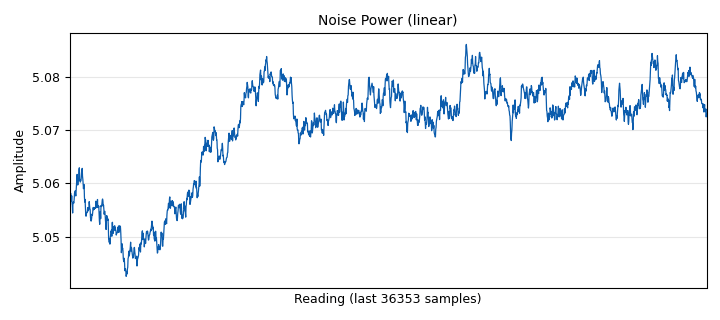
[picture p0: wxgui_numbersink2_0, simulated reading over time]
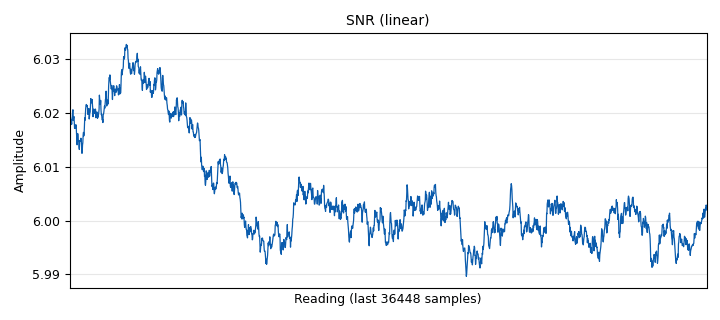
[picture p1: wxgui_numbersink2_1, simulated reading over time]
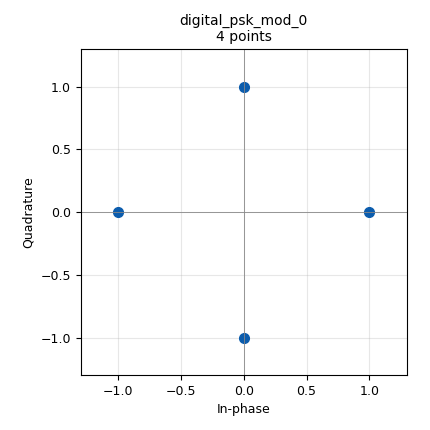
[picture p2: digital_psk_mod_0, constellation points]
<?xml version='1.0' encoding='utf-8'?>
<?grc format='1' created='3.7.11'?>
<flow_graph>
<block>
<key>options</key>
<param><key>id</key><value>top_block</value></param>
<param><key>generate_options</key><value>wx_gui</value></param>
</block>
<block>
<key>variable</key>
<param><key>id</key><value>noise_amplitude</value></param>
<param><key>value</key><value>0.01</value></param>
</block>
<block>
<key>variable</key>
<param><key>id</key><value>samp_rate</value></param>
<param><key>value</key><value>32000</value></param>
</block>
<block>
<key>variable</key>
<param><key>id</key><value>signal_gain</value></param>
<param><key>value</key><value>0.02</value></param>
</block>
<block>
<key>analog_noise_source_x</key>
<param><key>id</key><value>analog_noise_source_x_0</value></param>
<param><key>amp</key><value>noise_amplitude</value></param>
<param><key>noise_type</key><value>analog.GR_GAUSSIAN</value></param>
<param><key>type</key><value>complex</value></param>
<param><key>seed</key><value>0</value></param>
</block>
<block>
<key>analog_random_source_x</key>
<param><key>id</key><value>analog_random_source_x_0</value></param>
<param><key>max</key><value>2</value></param>
<param><key>min</key><value>0</value></param>
<param><key>num_samps</key><value>1000</value></param>
<param><key>type</key><value>byte</value></param>
<param><key>repeat</key><value>True</value></param>
</block>
<block>
<key>blocks_add_xx</key>
<param><key>id</key><value>blocks_add_xx_0</value></param>
<param><key>type</key><value>complex</value></param>
</block>
<block>
<key>blocks_complex_to_mag_squared</key>
<param><key>id</key><value>blocks_complex_to_mag_squared_0</value></param>
</block>
<block>
<key>blocks_complex_to_mag_squared</key>
<param><key>id</key><value>blocks_complex_to_mag_squared_1</value></param>
</block>
<block>
<key>blocks_divide_xx</key>
<param><key>id</key><value>blocks_divide_xx_0</value></param>
<param><key>type</key><value>float</value></param>
</block>
<block>
<key>blocks_moving_average_xx</key>
<param><key>id</key><value>blocks_moving_average_xx_0</value></param>
<param><key>length</key><value>samp_rate</value></param>
<param><key>max_iter</key><value>4000</value></param>
<param><key>scale</key><value>1</value></param>
<param><key>type</key><value>float</value></param>
</block>
<block>
<key>blocks_moving_average_xx</key>
<param><key>id</key><value>blocks_moving_average_xx_1</value></param>
<param><key>length</key><value>samp_rate</value></param>
<param><key>max_iter</key><value>4000</value></param>
<param><key>scale</key><value>1</value></param>
<param><key>type</key><value>float</value></param>
</block>
<block>
<key>blocks_multiply_const_vxx</key>
<param><key>id</key><value>blocks_multiply_const_vxx_0</value></param>
<param><key>const</key><value>10</value></param>
<param><key>type</key><value>float</value></param>
</block>
<block>
<key>blocks_multiply_const_vxx</key>
<param><key>id</key><value>blocks_multiply_const_vxx_1</value></param>
<param><key>const</key><value>10</value></param>
<param><key>type</key><value>float</value></param>
</block>
<block>
<key>blocks_multiply_const_vxx</key>
<param><key>id</key><value>blocks_multiply_const_vxx_2</value></param>
<param><key>const</key><value>10</value></param>
<param><key>type</key><value>float</value></param>
</block>
<block>
<key>blocks_multiply_const_vxx</key>
<param><key>id</key><value>blocks_multiply_const_vxx_3</value></param>
<param><key>const</key><value>signal_gain</value></param>
<param><key>type</key><value>complex</value></param>
</block>
<block>
<key>blocks_nlog10_ff</key>
<param><key>id</key><value>blocks_nlog10_ff_0</value></param>
<param><key>k</key><value>0</value></param>
</block>
<block>
<key>blocks_nlog10_ff</key>
<param><key>id</key><value>blocks_nlog10_ff_1</value></param>
<param><key>k</key><value>0</value></param>
</block>
<block>
<key>blocks_nlog10_ff</key>
<param><key>id</key><value>blocks_nlog10_ff_2</value></param>
<param><key>k</key><value>0</value></param>
</block>
<block>
<key>blocks_null_sink</key>
<param><key>id</key><value>blocks_null_sink_0</value></param>
<param><key>bus_conns</key><value>[[0,],]</value></param>
<param><key>type</key><value>complex</value></param>
</block>
<block>
<key>blocks_throttle</key>
<param><key>id</key><value>blocks_throttle_0</value></param>
<param><key>samples_per_second</key><value>samp_rate</value></param>
<param><key>type</key><value>byte</value></param>
</block>
<block>
<key>digital_psk_mod</key>
<param><key>id</key><value>digital_psk_mod_0</value></param>
<param><key>differential</key><value>True</value></param>
<param><key>excess_bw</key><value>0.35</value></param>
<param><key>mod_code</key><value>"gray"</value></param>
<param><key>constellation_points</key><value>4</value></param>
<param><key>samples_per_symbol</key><value>2</value></param>
</block>
<block>
<key>wxgui_numbersink2</key>
<param><key>id</key><value>wxgui_numbersink2_0</value></param>
<param><key>avg_alpha</key><value>0</value></param>
<param><key>average</key><value>False</value></param>
<param><key>decimal_places</key><value>10</value></param>
<param><key>factor</key><value>1.0</value></param>
<param><key>max_value</key><value>100</value></param>
<param><key>min_value</key><value>-100</value></param>
<param><key>number_rate</key><value>15</value></param>
<param><key>peak_hold</key><value>False</value></param>
<param><key>ref_level</key><value>0</value></param>
<param><key>samp_rate</key><value>samp_rate</value></param>
<param><key>show_gauge</key><value>True</value></param>
<param><key>title</key><value>Noise Power (linear)</value></param>
<param><key>type</key><value>float</value></param>
<param><key>units</key><value>Units</value></param>
</block>
<block>
<key>wxgui_numbersink2</key>
<param><key>id</key><value>wxgui_numbersink2_1</value></param>
<param><key>avg_alpha</key><value>0</value></param>
<param><key>average</key><value>False</value></param>
<param><key>decimal_places</key><value>10</value></param>
<param><key>factor</key><value>1.0</value></param>
<param><key>max_value</key><value>100</value></param>
<param><key>min_value</key><value>-100</value></param>
<param><key>number_rate</key><value>15</value></param>
<param><key>peak_hold</key><value>False</value></param>
<param><key>ref_level</key><value>0</value></param>
<param><key>samp_rate</key><value>samp_rate</value></param>
<param><key>show_gauge</key><value>True</value></param>
<param><key>title</key><value>SNR (linear)</value></param>
<param><key>type</key><value>float</value></param>
<param><key>units</key><value>Units</value></param>
</block>
<block>
<key>wxgui_numbersink2</key>
<param><key>id</key><value>wxgui_numbersink2_2</value></param>
<param><key>avg_alpha</key><value>0</value></param>
<param><key>average</key><value>False</value></param>
<param><key>decimal_places</key><value>10</value></param>
<param><key>factor</key><value>1.0</value></param>
<param><key>max_value</key><value>100</value></param>
<param><key>min_value</key><value>-100</value></param>
<param><key>number_rate</key><value>15</value></param>
<param><key>peak_hold</key><value>False</value></param>
<param><key>ref_level</key><value>0</value></param>
<param><key>samp_rate</key><value>samp_rate</value></param>
<param><key>show_gauge</key><value>True</value></param>
<param><key>title</key><value>Signal Power (linear)</value></param>
<param><key>type</key><value>float</value></param>
<param><key>units</key><value>Units</value></param>
</block>
<connection><source_block_id>analog_noise_source_x_0</source_block_id><sink_block_id>blocks_add_xx_0</sink_block_id><source_key>0</source_key><sink_key>1</sink_key></connection>
<connection><source_block_id>analog_noise_source_x_0</source_block_id><sink_block_id>blocks_complex_to_mag_squared_0</sink_block_id><source_key>0</source_key><sink_key>0</sink_key></connection>
<connection><source_block_id>analog_random_source_x_0</source_block_id><sink_block_id>blocks_throttle_0</sink_block_id><source_key>0</source_key><sink_key>0</sink_key></connection>
<connection><source_block_id>blocks_add_xx_0</source_block_id><sink_block_id>blocks_null_sink_0</sink_block_id><source_key>0</source_key><sink_key>0</sink_key></connection>
<connection><source_block_id>blocks_complex_to_mag_squared_0</source_block_id><sink_block_id>blocks_moving_average_xx_1</sink_block_id><source_key>0</source_key><sink_key>0</sink_key></connection>
<connection><source_block_id>blocks_complex_to_mag_squared_1</source_block_id><sink_block_id>blocks_moving_average_xx_0</sink_block_id><source_key>0</source_key><sink_key>0</sink_key></connection>
<connection><source_block_id>blocks_divide_xx_0</source_block_id><sink_block_id>blocks_nlog10_ff_0</sink_block_id><source_key>0</source_key><sink_key>0</sink_key></connection>
<connection><source_block_id>blocks_moving_average_xx_0</source_block_id><sink_block_id>blocks_divide_xx_0</sink_block_id><source_key>0</source_key><sink_key>0</sink_key></connection>
<connection><source_block_id>blocks_moving_average_xx_0</source_block_id><sink_block_id>blocks_nlog10_ff_1</sink_block_id><source_key>0</source_key><sink_key>0</sink_key></connection>
<connection><source_block_id>blocks_moving_average_xx_1</source_block_id><sink_block_id>blocks_divide_xx_0</sink_block_id><source_key>0</source_key><sink_key>1</sink_key></connection>
<connection><source_block_id>blocks_moving_average_xx_1</source_block_id><sink_block_id>blocks_nlog10_ff_2</sink_block_id><source_key>0</source_key><sink_key>0</sink_key></connection>
<connection><source_block_id>blocks_multiply_const_vxx_0</source_block_id><sink_block_id>wxgui_numbersink2_1</sink_block_id><source_key>0</source_key><sink_key>0</sink_key></connection>
<connection><source_block_id>blocks_multiply_const_vxx_1</source_block_id><sink_block_id>wxgui_numbersink2_0</sink_block_id><source_key>0</source_key><sink_key>0</sink_key></connection>
<connection><source_block_id>blocks_multiply_const_vxx_2</source_block_id><sink_block_id>wxgui_numbersink2_2</sink_block_id><source_key>0</source_key><sink_key>0</sink_key></connection>
<connection><source_block_id>blocks_multiply_const_vxx_3</source_block_id><sink_block_id>blocks_add_xx_0</sink_block_id><source_key>0</source_key><sink_key>0</sink_key></connection>
<connection><source_block_id>blocks_multiply_const_vxx_3</source_block_id><sink_block_id>blocks_complex_to_mag_squared_1</sink_block_id><source_key>0</source_key><sink_key>0</sink_key></connection>
<connection><source_block_id>blocks_nlog10_ff_0</source_block_id><sink_block_id>blocks_multiply_const_vxx_0</sink_block_id><source_key>0</source_key><sink_key>0</sink_key></connection>
<connection><source_block_id>blocks_nlog10_ff_1</source_block_id><sink_block_id>blocks_multiply_const_vxx_2</sink_block_id><source_key>0</source_key><sink_key>0</sink_key></connection>
<connection><source_block_id>blocks_nlog10_ff_2</source_block_id><sink_block_id>blocks_multiply_const_vxx_1</sink_block_id><source_key>0</source_key><sink_key>0</sink_key></connection>
<connection><source_block_id>blocks_throttle_0</source_block_id><sink_block_id>digital_psk_mod_0</sink_block_id><source_key>0</source_key><sink_key>0</sink_key></connection>
<connection><source_block_id>digital_psk_mod_0</source_block_id><sink_block_id>blocks_multiply_const_vxx_3</sink_block_id><source_key>0</source_key><sink_key>0</sink_key></connection>
</flow_graph>
